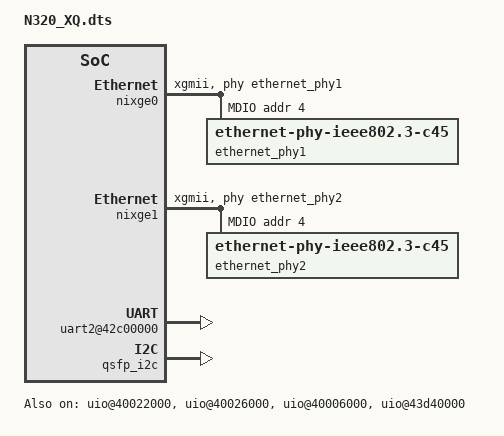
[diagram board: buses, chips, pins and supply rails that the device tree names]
// SPDX-License-Identifier: GPL-2.0 OR X11
/*
 * Copyright (c) 2018 National Instruments Corp
 */

/dts-v1/;
/plugin/;

#include "n320-fpga.dtsi"

&fpga_full {
	nixge0: ethernet@40000000 {
		#address-cells = <1>;
		#size-cells = <1>;
		compatible = "ni,xge-enet-3.00";
		reg = <0x40000000 0x4000
		       0x40020000 0x2000>;
		reg-names = "dma", "ctrl";

		clocks = <&clkc 15>;
		clock-names = "bus_clk";

		nvmem-cells = <&eth1_addr>;
		nvmem-cell-names = "address";

		interrupts = <0 29 4>, <0 30 4>;
		interrupt-names = "rx", "tx";
		interrupt-parent = <&intc>;
		status = "okay";

		phy-mode = "xgmii";
		phy-handle = <&ethernet_phy1>;

		mdio {
			ethernet_phy1: ethernet-phy@4 {
				compatible = "ethernet-phy-ieee802.3-c45";
				reg = <4>;
			};
		};
	};

	uio@40022000 {
		compatible = "usrp-uio";
		reg = <0x40022000 0x2000>;
		reg-names = "misc-enet-regs0";
		status = "okay";
	};

	nixge1: ethernet@40008000 {
		#address-cells = <1>;
		#size-cells = <1>;
		compatible = "ni,xge-enet-3.00";
		reg = <0x40008000 0x4000
		       0x40024000 0x2000>;
		reg-names = "dma", "ctrl";

		clocks = <&clkc 15>;
		clock-names = "bus_clk";

		nvmem-cells = <&eth2_addr>;
		nvmem-cell-names = "address";

		interrupts = <0 31 4>, <0 32 4>;
		interrupt-names = "rx", "tx";
		interrupt-parent = <&intc>;
		status = "okay";

		phy-mode = "xgmii";
		phy-handle = <&ethernet_phy2>;

		mdio {
			ethernet_phy2: ethernet-phy@4 {
				compatible = "ethernet-phy-ieee802.3-c45";
				reg = <4>;
			};
		};
	};

	uio@40026000 {
		compatible = "usrp-uio";
		reg = <0x40026000 0x2000>;
		reg-names = "misc-enet-regs1";
		status = "okay";
	};

	uio@40006000 {
		compatible = "usrp-uio";
		reg = <0x40006000 0x2000>;
		reg-names = "misc-enet-regs2";
		status = "okay";
	};

	uio@43d40000 {
		compatible = "usrp-uio";
		reg = <0x43d40000 0x40000>;
		reg-names = "wr-regs";
		status = "okay";
	};

	uart2@42c00000 {
		compatible = "xlnx,xps-uartlite-1.00.a";
		reg = <0x42c00000 0x1000>;
		interrupt-parent = <&intc>;
		interrupts = <0 54 4>;
	};

	qsfp_i2c: qsfp-i2c@43D80000 {
		compatible = "xlnx,xps-iic-2.00.a";
		clocks = <&clkc 15>;
		interrupt-parent = <&intc>;
		interrupts = <0 55 4>;
		reg = <0x43D80000 0x10000>;
	};
};

#include "n320-common.dtsi"
#include "dma-common.dtsi"
